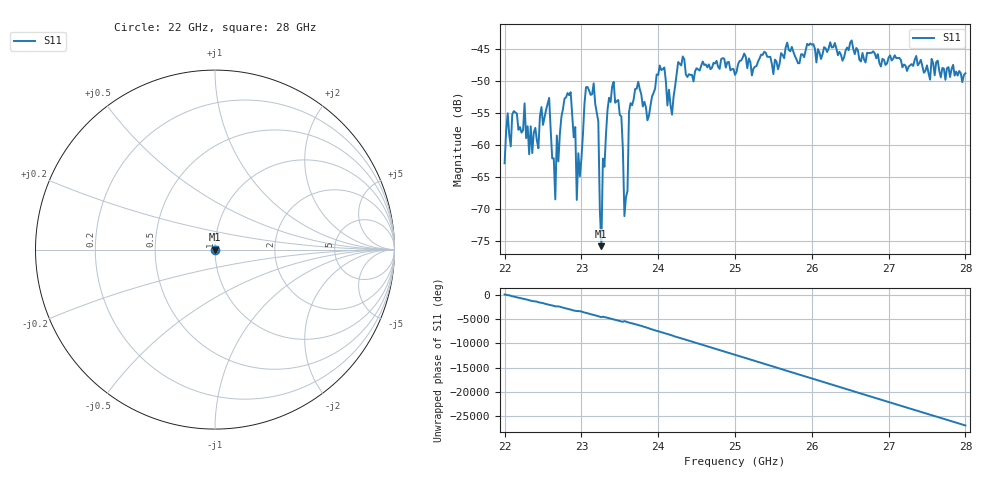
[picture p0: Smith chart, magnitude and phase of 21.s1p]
#  HZ  S  RI  R  50.00
! Rohde & Schwarz ZVA40 4Ports - Version 3.90 - 1145.1110k42 SN: 100403
! Date: 2023-10-04 07:16:48
! Measurement: S12
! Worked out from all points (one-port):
!   301 points, 22 GHz to 28 GHz, reference 50 ohm
!   lowest |S11| = -75.8 dB at 23.26 GHz (marker M1), VSWR 1.00, Z = 50 + j0.0116 ohm
!   |S11| at or under -10 dB: start of sweep to end of sweep
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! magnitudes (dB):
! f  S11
! 22 GHz  -62.9
! 22.04 GHz  -55.0
! 22.32 GHz  -61.4
! 22.58 GHz  -52.6
! 22.66 GHz  -68.5
! 22.68 GHz  -58.5
! 22.76 GHz  -54.3
! 22.86 GHz  -51.7
! 22.92 GHz  -57.2
! 22.94 GHz  -68.6
! 23.06 GHz  -50.9
! 23.16 GHz  -50.3
! 23.22 GHz  -56.3
! 23.26 GHz  -75.8
! 23.28 GHz  -62.1
! 23.36 GHz  -52.6
! 23.5 GHz  -55.3
! 23.56 GHz  -71.1
! 23.6 GHz  -67.2
! 23.62 GHz  -54.8
! 23.7 GHz  -51.2
! 24.18 GHz  -55.2
! 24.26 GHz  -47.0
! 25 GHz  -49.0
! 25.76 GHz  -45.4
! 26.5 GHz  -43.9
! 27.26 GHz  -47.7
! 28 GHz  -48.8
